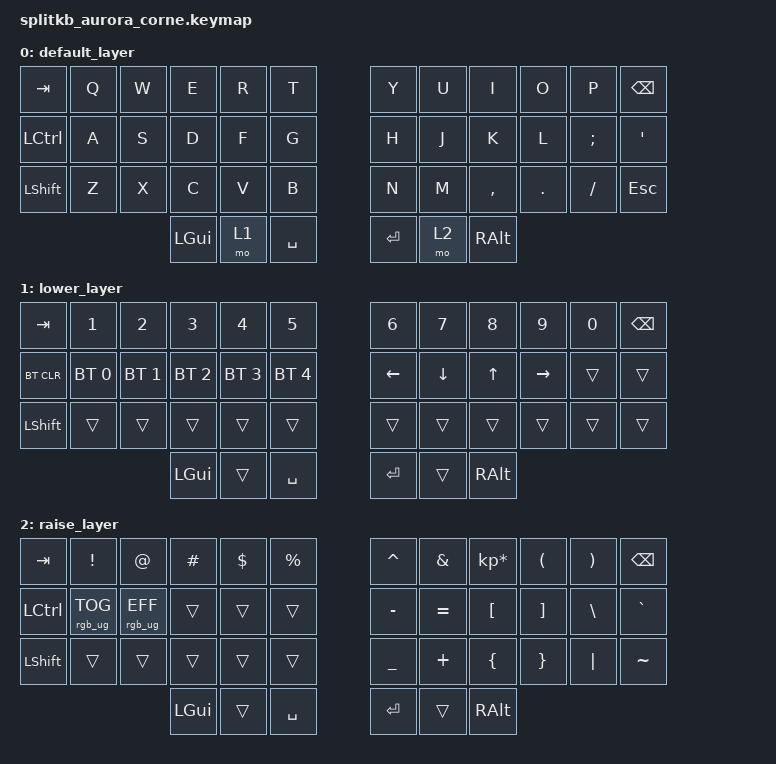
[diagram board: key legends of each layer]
/*
 * Copyright (c) 2020 The ZMK Contributors
 *
 * SPDX-License-Identifier: MIT
 */

#include <behaviors.dtsi>
#include <dt-bindings/zmk/keys.h>
#include <dt-bindings/zmk/bt.h>
#include <dt-bindings/zmk/rgb.h>



&mt {
  //  flavor = "tap-preferred";
   // tapping_term_ms = <200>;
};

/ { 

    combos {
        compatible = "zmk,combos";
        combo_esc {
            timeout-ms = <50>;
            key-positions = <0 1>;
            bindings = <&kp ESC>;
        };
        
         combo_tab {
            timeout-ms = <50>;
            key-positions = <10 11>;
            bindings = <&kp TAB>;
        };
        
            combo_ralt {
            timeout-ms = <50>;
            key-positions = <17 16>;
            bindings = <&kp RALT>;
        };
        
                    combo_lalt {
            timeout-ms = <50>;
            key-positions = <11 12>;
            bindings = <&kp LALT>;
        };
        
                           combo_lgui {
            timeout-ms = <50>;
            key-positions = <12 13>;
            bindings = <&kp LGUI>;
        };
        
        
           combo_rgui {
            timeout-ms = <50>;
            key-positions = <17 18>;
            bindings = <&kp RGUI>;
        };
        

        
    };

        keymap {
                compatible = "zmk,keymap";

                default_layer {
// -----------------------------------------------------------------------------------------
// |  TAB |  Q  |  W  |  E  |  R  |  T  |   |  Y  |  U   |  I  |  O  |  P  | BKSP |
// | CTRL |  A  |  S  |  D  |  F  |  G  |   |  H  |  J   |  K  |  L  |  ;  |  '   |
// | SHFT |  Z  |  X  |  C  |  V  |  B  |   |  N  |  M   |  ,  |  .  |  /  | ESC  |
//                    | GUI | LWR | SPC |   | ENT | RSE  | ALT |
                        bindings = <
   &kp TAB   &kp Q &kp W &kp E &kp R &kp T   &kp Y &kp U  &kp I     &kp O   &kp P    &kp BSPC
   &kp LCTRL &kp A &kp S &kp D &kp F &kp G   &kp H &kp J  &kp K     &kp L   &kp SEMI &kp SQT
   &kp LSHFT &kp Z &kp X &kp C &kp V &kp B   &kp N &kp M  &kp COMMA &kp DOT &kp FSLH &kp ESC
                  &kp LGUI &mo 1 &kp SPACE   &kp RET &mo 2 &kp RALT
                        >;
                };
                lower_layer {
// -----------------------------------------------------------------------------------------
// |  TAB |  1  |  2  |  3  |  4  |  5  |   |  6  |  7  |  8  |  9  |  0  | BKSP |
// | BTCLR| BT1 | BT2 | BT3 | BT4 | BT5 |   | LFT | DWN |  UP | RGT |     |      |
// | SHFT |     |     |     |     |     |   |     |     |     |     |     |      |
//                    | GUI |     | SPC |   | ENT |     | ALT |
                        bindings = <
   &kp TAB    &kp N1       &kp N2       &kp N3       &kp N4       &kp N5         &kp N6   &kp N7   &kp N8 &kp N9    &kp N0 &kp BSPC
   &bt BT_CLR &bt BT_SEL 0 &bt BT_SEL 1 &bt BT_SEL 2 &bt BT_SEL 3 &bt BT_SEL 4   &kp LEFT &kp DOWN &kp UP &kp RIGHT &trans &trans
   &kp LSHFT  &trans       &trans       &trans       &trans       &trans         &trans   &trans   &trans &trans    &trans &trans
                          	        &kp LGUI     &trans       &kp SPACE      &kp RET  &trans   &kp RALT
                        >;
                };

                raise_layer {
// -----------------------------------------------------------------------------------------
// |  TAB |  !  |  @  |  #  |  $  |  %  |   |  ^  |  &  |  *  |  (  |  )  | BKSP |
// | CTRL |     |     |     |     |     |   |  -  |  =  |  [  |  ]  |  \  |  `   |
// | SHFT |     |     |     |     |     |   |  _  |  +  |  {  |  }  | "|" |  ~   |
//                    | GUI |     | SPC |   | ENT |     | ALT |
                        bindings = <
   &kp  TAB  &kp EXCL &kp AT &kp HASH &kp DLLR &kp PRCNT   &kp CARET &kp AMPS  &kp KP_MULTIPLY &kp LPAR &kp RPAR &kp BSPC
   &kp LCTRL &rgb_ug RGB_TOG &rgb_ug RGB_EFF &trans   &trans   &trans      &kp MINUS &kp EQUAL &kp LBKT        &kp RBKT &kp BSLH &kp GRAVE
   &kp LSHFT &trans   &trans &trans   &trans   &trans      &kp UNDER &kp PLUS  &kp LBRC        &kp RBRC &kp PIPE &kp TILDE
                    	     &kp LGUI &trans   &kp SPACE   &kp RET   &trans    &kp RALT
                        >;
                };
        };
};
